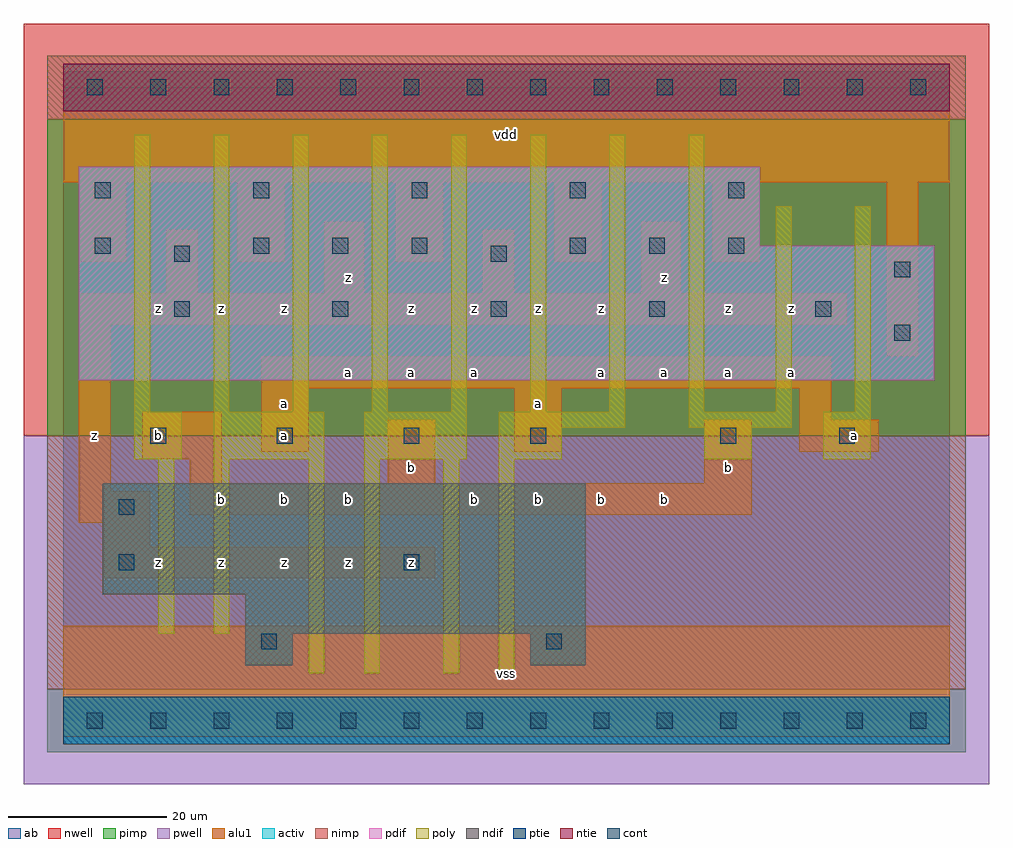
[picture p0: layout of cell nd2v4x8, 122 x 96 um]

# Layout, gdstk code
import gdstk
lib = gdstk.Library(unit=1e-6, precision=1e-09)
def R(c, l, rs):  # rectangles x0, y0, x1, y1
    for r in rs: c.add(gdstk.rectangle(r[:2], r[2:], *l))
def A(c, l, x, y, w, h, nx, ny, dx, dy):  # array of equal rectangles
    R(c, l, [(x+i*dx, y+j*dy, x+i*dx+w, y+j*dy+h) for i in range(nx) for j in range(ny)])
ndif = (3, 0)
pdif = (4, 0)
ntie = (5, 0)
ptie = (6, 0)
cont = (25, 0)
pwell = (41, 0)
nwell = (42, 0)
activ = (43, 0)
pimp = (44, 0)
nimp = (45, 0)
poly = (46, 0)
alu1 = (49, 0)
ab = (63, 0)

nd2v4x8 = lib.new_cell('nd2v4x8')
R(nd2v4x8, ndif, [(23,7,29,11), (59,7,66,11), (23,11,66,16), (5,16,66,30)])
R(nd2v4x8, pdif, [(2,43,110,60), (2,60,88,70)])
R(nd2v4x8, ntie, [(0,77,112,83)])
R(nd2v4x8, ptie, [(0,-3,112,3)])
A(nd2v4x8, cont, 3, -1, 2, 2, 14, 2, 8, 80)
A(nd2v4x8, cont, 11, 35, 2, 2, 4, 1, 16, 0)
A(nd2v4x8, cont, 14, 51, 2, 2, 4, 1, 20, 0)
A(nd2v4x8, cont, 24, 59, 2, 2, 3, 1, 10, 0)
A(nd2v4x8, cont, 64, 59, 2, 2, 3, 1, 10, 0)
A(nd2v4x8, cont, 4, 66, 2, 2, 5, 1, 20, 0)
R(nd2v4x8, cont, [(25,9,27,11), (61,9,63,11), (7,19,9,21), (43,19,45,21), (7,26,9,28), (83,35,85,37), (98,35,100,37), (105,48,107,50), (95,51,97,53), (105,56,107,58), (14,58,16,60), (54,58,56,60), (4,59,6,61)])
R(nd2v4x8, pwell, [(-5,-8,117,36)])
R(nd2v4x8, nwell, [(-5,36,117,88)])
R(nd2v4x8, activ, [(0,-3,112,3), (23,7,29,11), (59,7,66,11), (23,11,66,16), (5,16,66,30), (2,43,110,60), (2,60,88,70), (0,77,112,83)])
R(nd2v4x8, pimp, [(-2,-4,114,4), (-2,36,114,76)])
R(nd2v4x8, nimp, [(-2,4,114,36), (-2,76,114,84)])
A(nd2v4x8, poly, 9, 39, 2, 35, 8, 1, 10, 0)
R(nd2v4x8, poly, [(31,6,33,33), (38,6,40,33), (48,6,50,33), (55,6,57,33), (12,11,14,33), (19,11,21,33), (9,33,15,39), (19,33,33,39), (38,33,51,39), (55,33,63,37), (81,33,87,37), (96,33,102,39), (55,37,71,39), (79,37,92,39), (90,39,92,65), (100,39,102,65)])
A(nd2v4x8, alu1, 2, 58, 6, 10, 5, 1, 20, 0)
R(nd2v4x8, alu1, [(0,-2,112,12), (5,18,47,22), (5,22,11,25), (2,25,11,29), (16,26,87,30), (2,29,6,50), (16,30,20,33), (41,30,47,38), (81,30,87,38), (10,33,20,39), (25,34,31,42), (57,34,63,42), (93,34,103,38), (93,38,97,42), (25,42,97,46), (104,46,108,68), (2,50,99,54), (13,54,17,62), (33,54,38,63), (53,54,57,62), (73,54,78,63), (0,68,112,82)])
R(nd2v4x8, ab, [(0,0,112,80)])
nd2v4x8.add(gdstk.Label('z', (12,20), layer=49, texttype=0))
nd2v4x8.add(gdstk.Label('b', (12,36), layer=49, texttype=0))
nd2v4x8.add(gdstk.Label('z', (4,36), layer=49, texttype=0))
nd2v4x8.add(gdstk.Label('z', (12,52), layer=49, texttype=0))
nd2v4x8.add(gdstk.Label('z', (20,20), layer=49, texttype=0))
nd2v4x8.add(gdstk.Label('b', (20,28), layer=49, texttype=0))
nd2v4x8.add(gdstk.Label('z', (28,20), layer=49, texttype=0))
nd2v4x8.add(gdstk.Label('b', (28,28), layer=49, texttype=0))
nd2v4x8.add(gdstk.Label('z', (36,20), layer=49, texttype=0))
nd2v4x8.add(gdstk.Label('b', (36,28), layer=49, texttype=0))
nd2v4x8.add(gdstk.Label('a', (28,36), layer=49, texttype=0))
nd2v4x8.add(gdstk.Label('a', (28,40), layer=49, texttype=0))
nd2v4x8.add(gdstk.Label('a', (36,44), layer=49, texttype=0))
nd2v4x8.add(gdstk.Label('z', (28,52), layer=49, texttype=0))
nd2v4x8.add(gdstk.Label('z', (20,52), layer=49, texttype=0))
nd2v4x8.add(gdstk.Label('z', (36,56), layer=49, texttype=0))
nd2v4x8.add(gdstk.Label('vss', (56,6), layer=49, texttype=0))
nd2v4x8.add(gdstk.Label('z', (44,20), layer=49, texttype=0))
nd2v4x8.add(gdstk.Label('b', (52,28), layer=49, texttype=0))
nd2v4x8.add(gdstk.Label('b', (60,28), layer=49, texttype=0))
nd2v4x8.add(gdstk.Label('b', (44,32), layer=49, texttype=0))
nd2v4x8.add(gdstk.Label('a', (44,44), layer=49, texttype=0))
nd2v4x8.add(gdstk.Label('a', (52,44), layer=49, texttype=0))
nd2v4x8.add(gdstk.Label('a', (60,40), layer=49, texttype=0))
nd2v4x8.add(gdstk.Label('z', (52,52), layer=49, texttype=0))
nd2v4x8.add(gdstk.Label('z', (60,52), layer=49, texttype=0))
nd2v4x8.add(gdstk.Label('z', (44,52), layer=49, texttype=0))
nd2v4x8.add(gdstk.Label('vdd', (56,74), layer=49, texttype=0))
nd2v4x8.add(gdstk.Label('b', (68,28), layer=49, texttype=0))
nd2v4x8.add(gdstk.Label('b', (76,28), layer=49, texttype=0))
nd2v4x8.add(gdstk.Label('b', (84,32), layer=49, texttype=0))
nd2v4x8.add(gdstk.Label('a', (68,44), layer=49, texttype=0))
nd2v4x8.add(gdstk.Label('a', (76,44), layer=49, texttype=0))
nd2v4x8.add(gdstk.Label('a', (84,44), layer=49, texttype=0))
nd2v4x8.add(gdstk.Label('z', (84,52), layer=49, texttype=0))
nd2v4x8.add(gdstk.Label('z', (68,52), layer=49, texttype=0))
nd2v4x8.add(gdstk.Label('z', (76,56), layer=49, texttype=0))
nd2v4x8.add(gdstk.Label('a', (92,44), layer=49, texttype=0))
nd2v4x8.add(gdstk.Label('a', (100,36), layer=49, texttype=0))
nd2v4x8.add(gdstk.Label('z', (92,52), layer=49, texttype=0))

lib.write_gds('nd2v4x8.gds')
